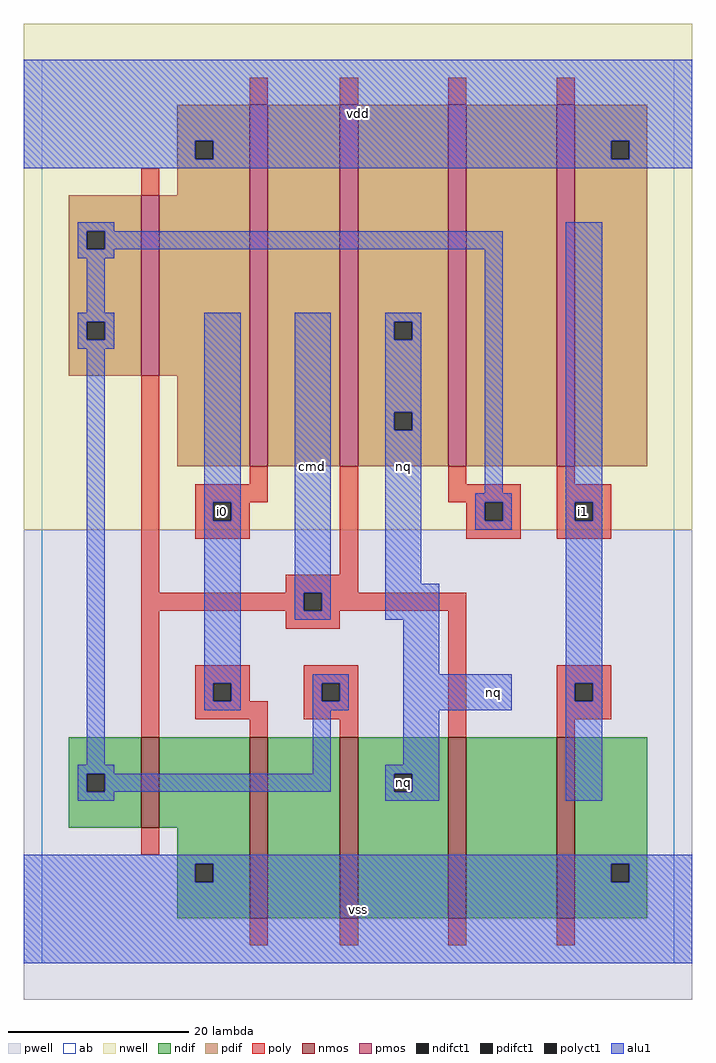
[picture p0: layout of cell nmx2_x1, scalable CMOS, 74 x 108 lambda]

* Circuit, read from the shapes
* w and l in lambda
.subckt nmx2_x1 cmd i0 i1 nq vdd vss
M1 vss cmd n1 VSUBS nfet w=10 l=2
M2 n2 i0 vss VSUBS nfet w=20 l=2
M3 nq n1 n2 VSUBS nfet w=20 l=2
M4 n3 cmd nq VSUBS nfet w=20 l=2
M5 vss i1 n3 VSUBS nfet w=20 l=2
M6 vdd cmd n1 n4 pfet w=20 l=2
M7 n5 i0 vdd n4 pfet w=40 l=2
M8 nq cmd n5 n4 pfet w=40 l=2
M9 n6 n1 nq n4 pfet w=40 l=2
M10 vdd i1 n6 n4 pfet w=40 l=2
.ends

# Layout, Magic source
magic
tech scmos
<< ab >>
rect 0 0 70 100
<< nwell >>
rect -2 48 72 104
<< pwell >>
rect -2 -4 72 48
<< poly >>
rect 23 95 25 98
rect 33 95 35 98
rect 45 95 47 98
rect 57 95 59 98
rect 11 85 13 88
rect 11 41 13 65
rect 23 53 25 55
rect 17 51 25 53
rect 17 49 19 51
rect 21 49 23 51
rect 17 47 23 49
rect 33 43 35 55
rect 45 53 47 55
rect 57 53 59 55
rect 45 51 53 53
rect 47 49 49 51
rect 51 49 53 51
rect 47 47 53 49
rect 57 51 63 53
rect 57 49 59 51
rect 61 49 63 51
rect 57 47 63 49
rect 27 41 35 43
rect 11 39 29 41
rect 31 39 47 41
rect 11 25 13 39
rect 27 37 33 39
rect 17 31 23 33
rect 17 29 19 31
rect 21 29 23 31
rect 29 31 35 33
rect 29 29 31 31
rect 33 29 35 31
rect 17 27 25 29
rect 29 27 35 29
rect 23 25 25 27
rect 33 25 35 27
rect 45 25 47 39
rect 57 31 63 33
rect 57 29 59 31
rect 61 29 63 31
rect 57 27 63 29
rect 57 25 59 27
rect 11 12 13 15
rect 23 2 25 5
rect 33 2 35 5
rect 45 2 47 5
rect 57 2 59 5
<< ndif >>
rect 3 21 11 25
rect 3 19 5 21
rect 7 19 11 21
rect 3 15 11 19
rect 13 15 23 25
rect 15 11 23 15
rect 15 9 17 11
rect 19 9 23 11
rect 15 5 23 9
rect 25 5 33 25
rect 35 21 45 25
rect 35 19 39 21
rect 41 19 45 21
rect 35 5 45 19
rect 47 5 57 25
rect 59 11 67 25
rect 59 9 63 11
rect 65 9 67 11
rect 59 5 67 9
<< pdif >>
rect 15 91 23 95
rect 15 89 17 91
rect 19 89 23 91
rect 15 85 23 89
rect 3 81 11 85
rect 3 79 5 81
rect 7 79 11 81
rect 3 71 11 79
rect 3 69 5 71
rect 7 69 11 71
rect 3 65 11 69
rect 13 65 23 85
rect 15 55 23 65
rect 25 55 33 95
rect 35 71 45 95
rect 35 69 39 71
rect 41 69 45 71
rect 35 61 45 69
rect 35 59 39 61
rect 41 59 45 61
rect 35 55 45 59
rect 47 55 57 95
rect 59 91 67 95
rect 59 89 63 91
rect 65 89 67 91
rect 59 55 67 89
<< alu1 >>
rect -2 91 72 100
rect -2 89 17 91
rect 19 89 63 91
rect 65 89 72 91
rect -2 88 72 89
rect 4 81 8 82
rect 4 79 5 81
rect 7 79 51 81
rect 4 78 8 79
rect 5 72 7 78
rect 4 71 8 72
rect 4 69 5 71
rect 7 69 8 71
rect 4 68 8 69
rect 5 22 7 68
rect 18 51 22 72
rect 18 49 19 51
rect 21 49 22 51
rect 18 31 22 49
rect 28 41 32 72
rect 28 39 29 41
rect 31 39 32 41
rect 28 38 32 39
rect 38 71 42 72
rect 38 69 39 71
rect 41 69 42 71
rect 38 61 42 69
rect 38 59 39 61
rect 41 59 42 61
rect 38 42 42 59
rect 49 52 51 79
rect 48 51 52 52
rect 48 49 49 51
rect 51 49 52 51
rect 48 48 52 49
rect 58 51 62 82
rect 58 49 59 51
rect 61 49 62 51
rect 38 38 44 42
rect 40 32 44 38
rect 18 29 19 31
rect 21 29 22 31
rect 18 28 22 29
rect 30 31 34 32
rect 30 29 31 31
rect 33 29 34 31
rect 30 28 34 29
rect 40 28 52 32
rect 58 31 62 49
rect 58 29 59 31
rect 61 29 62 31
rect 4 21 8 22
rect 30 21 32 28
rect 40 22 44 28
rect 4 19 5 21
rect 7 19 32 21
rect 38 21 44 22
rect 38 19 39 21
rect 41 19 44 21
rect 4 18 8 19
rect 38 18 44 19
rect 58 18 62 29
rect -2 11 72 12
rect -2 9 17 11
rect 19 9 63 11
rect 65 9 72 11
rect -2 0 72 9
<< nmos >>
rect 11 15 13 25
rect 23 5 25 25
rect 33 5 35 25
rect 45 5 47 25
rect 57 5 59 25
<< pmos >>
rect 11 65 13 85
rect 23 55 25 95
rect 33 55 35 95
rect 45 55 47 95
rect 57 55 59 95
<< polyct1 >>
rect 19 49 21 51
rect 49 49 51 51
rect 59 49 61 51
rect 29 39 31 41
rect 19 29 21 31
rect 31 29 33 31
rect 59 29 61 31
<< ndifct1 >>
rect 5 19 7 21
rect 17 9 19 11
rect 39 19 41 21
rect 63 9 65 11
<< pdifct1 >>
rect 17 89 19 91
rect 5 79 7 81
rect 5 69 7 71
rect 39 69 41 71
rect 39 59 41 61
rect 63 89 65 91
<< labels >>
rlabel alu1 30 55 30 55 6 cmd
rlabel polyct1 20 50 20 50 6 i0
rlabel ndifct1 40 20 40 20 6 nq
rlabel alu1 35 6 35 6 6 vss
rlabel alu1 50 30 50 30 6 nq
rlabel alu1 40 55 40 55 6 nq
rlabel alu1 35 94 35 94 6 vdd
rlabel polyct1 60 50 60 50 6 i1
<< end >>
